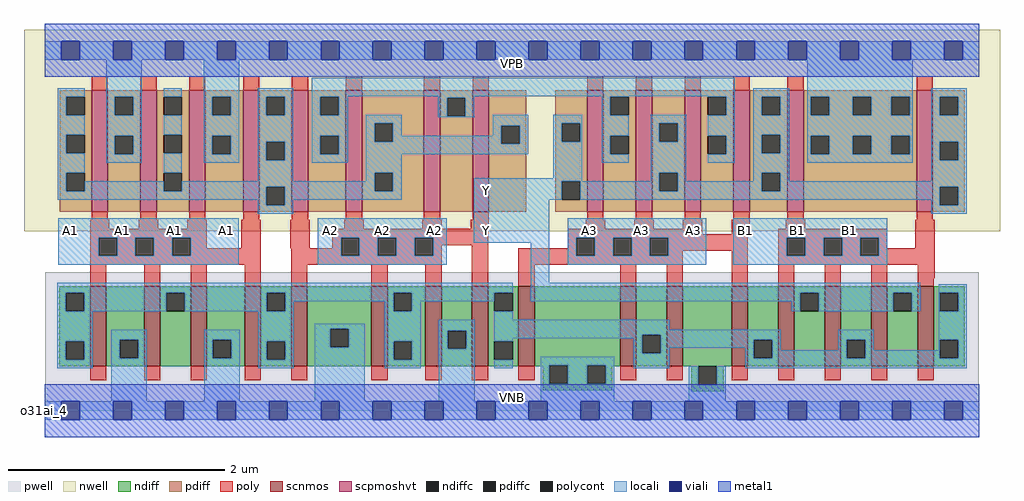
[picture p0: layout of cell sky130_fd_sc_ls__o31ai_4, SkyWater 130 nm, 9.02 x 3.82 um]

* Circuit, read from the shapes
.subckt sky130_fd_sc_ls__o31ai_4 A1 A2 A3 B1 VGND VNB VPB VPWR Y
XM1 VGND A1 n1 VNB sky130_fd_pr__nfet_01v8 w=0.74 l=0.15 m=4
XM2 VGND A2 n1 VNB sky130_fd_pr__nfet_01v8 w=0.74 l=0.15 m=4
XM3 VGND A3 n1 VNB sky130_fd_pr__nfet_01v8 w=0.74 l=0.15 m=4
XM4 Y B1 n1 VNB sky130_fd_pr__nfet_01v8 w=0.74 l=0.15 m=4
XM5 VPWR A1 n2 VPB sky130_fd_pr__pfet_01v8_hvt w=1.12 l=0.15 m=4
XM6 n3 A2 n2 VPB sky130_fd_pr__pfet_01v8_hvt w=1.12 l=0.15 m=4
XM7 n3 A3 Y VPB sky130_fd_pr__pfet_01v8_hvt w=1.12 l=0.15 m=4
XM8 VPWR B1 Y VPB sky130_fd_pr__pfet_01v8_hvt w=1.12 l=0.15 m=2
.ends

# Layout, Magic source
magic
tech sky130A
magscale 1 2
<< nwell >>
rect -38 332 1766 704
<< pwell >>
rect 1 49 1727 256
rect 0 0 1728 49
<< scnmos >>
rect 84 82 114 230
rect 184 82 214 230
rect 270 82 300 230
rect 370 82 400 230
rect 456 82 486 230
rect 604 82 634 230
rect 704 82 734 230
rect 790 82 820 230
rect 876 82 906 230
rect 1064 82 1094 230
rect 1150 82 1180 230
rect 1270 82 1300 230
rect 1356 82 1386 230
rect 1442 82 1472 230
rect 1528 82 1558 230
rect 1614 82 1644 230
<< scpmoshvt >>
rect 87 368 117 592
rect 177 368 207 592
rect 267 368 297 592
rect 367 368 397 592
rect 457 368 487 592
rect 557 368 587 592
rect 701 368 731 592
rect 791 368 821 592
rect 1003 368 1033 592
rect 1093 368 1123 592
rect 1183 368 1213 592
rect 1273 368 1303 592
rect 1373 368 1403 592
rect 1612 368 1642 592
<< ndiff >>
rect 27 218 84 230
rect 27 184 39 218
rect 73 184 84 218
rect 27 128 84 184
rect 27 94 39 128
rect 73 94 84 128
rect 27 82 84 94
rect 114 131 184 230
rect 114 97 139 131
rect 173 97 184 131
rect 114 82 184 97
rect 214 218 270 230
rect 214 184 225 218
rect 259 184 270 218
rect 214 82 270 184
rect 300 131 370 230
rect 300 97 311 131
rect 345 97 370 131
rect 300 82 370 97
rect 400 218 456 230
rect 400 184 411 218
rect 445 184 456 218
rect 400 128 456 184
rect 400 94 411 128
rect 445 94 456 128
rect 400 82 456 94
rect 486 151 604 230
rect 486 117 528 151
rect 562 117 604 151
rect 486 82 604 117
rect 634 218 704 230
rect 634 184 645 218
rect 679 184 704 218
rect 634 128 704 184
rect 634 94 645 128
rect 679 94 704 128
rect 634 82 704 94
rect 734 148 790 230
rect 734 114 745 148
rect 779 114 790 148
rect 734 82 790 114
rect 820 218 876 230
rect 820 184 831 218
rect 865 184 876 218
rect 820 128 876 184
rect 820 94 831 128
rect 865 94 876 128
rect 820 82 876 94
rect 906 84 1064 230
rect 906 82 933 84
rect 921 50 933 82
rect 967 50 1003 84
rect 1037 82 1064 84
rect 1094 140 1150 230
rect 1094 106 1105 140
rect 1139 106 1150 140
rect 1094 82 1150 106
rect 1180 82 1270 230
rect 1300 131 1356 230
rect 1300 97 1311 131
rect 1345 97 1356 131
rect 1300 82 1356 97
rect 1386 218 1442 230
rect 1386 184 1397 218
rect 1431 184 1442 218
rect 1386 82 1442 184
rect 1472 131 1528 230
rect 1472 97 1483 131
rect 1517 97 1528 131
rect 1472 82 1528 97
rect 1558 218 1614 230
rect 1558 184 1569 218
rect 1603 184 1614 218
rect 1558 82 1614 184
rect 1644 218 1701 230
rect 1644 184 1655 218
rect 1689 184 1701 218
rect 1644 131 1701 184
rect 1644 97 1655 131
rect 1689 97 1701 131
rect 1644 82 1701 97
rect 1037 50 1049 82
rect 921 38 1049 50
rect 1195 48 1208 82
rect 1242 48 1255 82
rect 1195 36 1255 48
<< pdiff >>
rect 28 580 87 592
rect 28 546 40 580
rect 74 546 87 580
rect 28 510 87 546
rect 28 476 40 510
rect 74 476 87 510
rect 28 440 87 476
rect 28 406 40 440
rect 74 406 87 440
rect 28 368 87 406
rect 117 580 177 592
rect 117 546 130 580
rect 164 546 177 580
rect 117 508 177 546
rect 117 474 130 508
rect 164 474 177 508
rect 117 368 177 474
rect 207 580 267 592
rect 207 546 220 580
rect 254 546 267 580
rect 207 510 267 546
rect 207 476 220 510
rect 254 476 267 510
rect 207 440 267 476
rect 207 406 220 440
rect 254 406 267 440
rect 207 368 267 406
rect 297 580 367 592
rect 297 546 310 580
rect 344 546 367 580
rect 297 508 367 546
rect 297 474 310 508
rect 344 474 367 508
rect 297 368 367 474
rect 397 580 457 592
rect 397 546 410 580
rect 444 546 457 580
rect 397 497 457 546
rect 397 463 410 497
rect 444 463 457 497
rect 397 414 457 463
rect 397 380 410 414
rect 444 380 457 414
rect 397 368 457 380
rect 487 580 557 592
rect 487 546 510 580
rect 544 546 557 580
rect 487 508 557 546
rect 487 474 510 508
rect 544 474 557 508
rect 487 368 557 474
rect 587 531 701 592
rect 587 497 610 531
rect 644 497 701 531
rect 587 440 701 497
rect 587 406 610 440
rect 644 406 701 440
rect 587 368 701 406
rect 731 578 791 592
rect 731 544 744 578
rect 778 544 791 578
rect 731 368 791 544
rect 821 527 890 592
rect 821 493 844 527
rect 878 493 890 527
rect 821 368 890 493
rect 944 531 1003 592
rect 944 497 956 531
rect 990 497 1003 531
rect 944 424 1003 497
rect 944 390 956 424
rect 990 390 1003 424
rect 944 368 1003 390
rect 1033 580 1093 592
rect 1033 546 1046 580
rect 1080 546 1093 580
rect 1033 508 1093 546
rect 1033 474 1046 508
rect 1080 474 1093 508
rect 1033 368 1093 474
rect 1123 531 1183 592
rect 1123 497 1136 531
rect 1170 497 1183 531
rect 1123 440 1183 497
rect 1123 406 1136 440
rect 1170 406 1183 440
rect 1123 368 1183 406
rect 1213 580 1273 592
rect 1213 546 1226 580
rect 1260 546 1273 580
rect 1213 508 1273 546
rect 1213 474 1226 508
rect 1260 474 1273 508
rect 1213 368 1273 474
rect 1303 580 1373 592
rect 1303 546 1326 580
rect 1360 546 1373 580
rect 1303 510 1373 546
rect 1303 476 1326 510
rect 1360 476 1373 510
rect 1303 440 1373 476
rect 1303 406 1326 440
rect 1360 406 1373 440
rect 1303 368 1373 406
rect 1403 580 1612 592
rect 1403 546 1416 580
rect 1450 546 1494 580
rect 1528 546 1565 580
rect 1599 546 1612 580
rect 1403 508 1612 546
rect 1403 474 1416 508
rect 1450 474 1494 508
rect 1528 474 1565 508
rect 1599 474 1612 508
rect 1403 368 1612 474
rect 1642 580 1701 592
rect 1642 546 1655 580
rect 1689 546 1701 580
rect 1642 497 1701 546
rect 1642 463 1655 497
rect 1689 463 1701 497
rect 1642 414 1701 463
rect 1642 380 1655 414
rect 1689 380 1701 414
rect 1642 368 1701 380
<< ndiffc >>
rect 39 184 73 218
rect 39 94 73 128
rect 139 97 173 131
rect 225 184 259 218
rect 311 97 345 131
rect 411 184 445 218
rect 411 94 445 128
rect 528 117 562 151
rect 645 184 679 218
rect 645 94 679 128
rect 745 114 779 148
rect 831 184 865 218
rect 831 94 865 128
rect 933 50 967 84
rect 1003 50 1037 84
rect 1105 106 1139 140
rect 1311 97 1345 131
rect 1397 184 1431 218
rect 1483 97 1517 131
rect 1569 184 1603 218
rect 1655 184 1689 218
rect 1655 97 1689 131
rect 1208 48 1242 82
<< pdiffc >>
rect 40 546 74 580
rect 40 476 74 510
rect 40 406 74 440
rect 130 546 164 580
rect 130 474 164 508
rect 220 546 254 580
rect 220 476 254 510
rect 220 406 254 440
rect 310 546 344 580
rect 310 474 344 508
rect 410 546 444 580
rect 410 463 444 497
rect 410 380 444 414
rect 510 546 544 580
rect 510 474 544 508
rect 610 497 644 531
rect 610 406 644 440
rect 744 544 778 578
rect 844 493 878 527
rect 956 497 990 531
rect 956 390 990 424
rect 1046 546 1080 580
rect 1046 474 1080 508
rect 1136 497 1170 531
rect 1136 406 1170 440
rect 1226 546 1260 580
rect 1226 474 1260 508
rect 1326 546 1360 580
rect 1326 476 1360 510
rect 1326 406 1360 440
rect 1416 546 1450 580
rect 1494 546 1528 580
rect 1565 546 1599 580
rect 1416 474 1450 508
rect 1494 474 1528 508
rect 1565 474 1599 508
rect 1655 546 1689 580
rect 1655 463 1689 497
rect 1655 380 1689 414
<< poly >>
rect 87 592 117 618
rect 177 592 207 618
rect 267 592 297 618
rect 367 592 397 618
rect 457 592 487 618
rect 557 592 587 618
rect 701 592 731 618
rect 791 592 821 618
rect 1003 592 1033 618
rect 1093 592 1123 618
rect 1183 592 1213 618
rect 1273 592 1303 618
rect 1373 592 1403 618
rect 1612 592 1642 618
rect 87 353 117 368
rect 177 353 207 368
rect 267 353 297 368
rect 367 353 397 368
rect 457 353 487 368
rect 557 353 587 368
rect 701 353 731 368
rect 791 353 821 368
rect 1003 353 1033 368
rect 1093 353 1123 368
rect 1183 353 1213 368
rect 1273 353 1303 368
rect 1373 353 1403 368
rect 1612 353 1642 368
rect 84 336 120 353
rect 174 336 210 353
rect 264 336 300 353
rect 84 320 300 336
rect 84 286 100 320
rect 134 286 168 320
rect 202 286 236 320
rect 270 300 300 320
rect 364 300 400 353
rect 454 300 490 353
rect 554 336 590 353
rect 698 336 734 353
rect 788 336 821 353
rect 1000 336 1036 353
rect 1090 336 1126 353
rect 1180 336 1216 353
rect 532 320 820 336
rect 532 300 548 320
rect 270 286 400 300
rect 84 270 400 286
rect 84 230 114 270
rect 184 230 214 270
rect 270 230 300 270
rect 370 230 400 270
rect 456 286 548 300
rect 582 286 616 320
rect 650 286 684 320
rect 718 306 820 320
rect 718 286 734 306
rect 456 270 734 286
rect 456 230 486 270
rect 604 230 634 270
rect 704 230 734 270
rect 790 230 820 306
rect 967 326 1216 336
rect 1270 326 1303 353
rect 1370 336 1406 353
rect 967 320 1300 326
rect 967 300 983 320
rect 876 286 983 300
rect 1017 286 1051 320
rect 1085 286 1119 320
rect 1153 296 1300 320
rect 1153 286 1180 296
rect 876 270 1180 286
rect 876 230 906 270
rect 1064 230 1094 270
rect 1150 230 1180 270
rect 1270 230 1300 296
rect 1356 320 1558 336
rect 1356 286 1372 320
rect 1406 286 1440 320
rect 1474 286 1508 320
rect 1542 300 1558 320
rect 1609 300 1645 353
rect 1542 286 1645 300
rect 1356 270 1645 286
rect 1356 230 1386 270
rect 1442 230 1472 270
rect 1528 230 1558 270
rect 1614 245 1645 270
rect 1614 230 1644 245
rect 84 56 114 82
rect 184 56 214 82
rect 270 56 300 82
rect 370 56 400 82
rect 456 56 486 82
rect 604 56 634 82
rect 704 56 734 82
rect 790 56 820 82
rect 876 56 906 82
rect 1064 56 1094 82
rect 1150 56 1180 82
rect 1270 56 1300 82
rect 1356 56 1386 82
rect 1442 56 1472 82
rect 1528 56 1558 82
rect 1614 56 1644 82
<< polycont >>
rect 100 286 134 320
rect 168 286 202 320
rect 236 286 270 320
rect 548 286 582 320
rect 616 286 650 320
rect 684 286 718 320
rect 983 286 1017 320
rect 1051 286 1085 320
rect 1119 286 1153 320
rect 1372 286 1406 320
rect 1440 286 1474 320
rect 1508 286 1542 320
<< locali >>
rect 0 649 31 683
rect 65 649 127 683
rect 161 649 223 683
rect 257 649 319 683
rect 353 649 415 683
rect 449 649 511 683
rect 545 649 607 683
rect 641 649 703 683
rect 737 649 799 683
rect 833 649 895 683
rect 929 649 991 683
rect 1025 649 1087 683
rect 1121 649 1183 683
rect 1217 649 1279 683
rect 1313 649 1375 683
rect 1409 649 1471 683
rect 1505 649 1567 683
rect 1601 649 1663 683
rect 1697 649 1728 683
rect 24 580 74 596
rect 24 546 40 580
rect 24 510 74 546
rect 24 476 40 510
rect 24 440 74 476
rect 114 580 180 649
rect 114 546 130 580
rect 164 546 180 580
rect 114 508 180 546
rect 114 474 130 508
rect 164 474 180 508
rect 114 458 180 474
rect 220 580 254 596
rect 220 510 254 546
rect 24 406 40 440
rect 220 440 254 476
rect 294 580 360 649
rect 294 546 310 580
rect 344 546 360 580
rect 294 508 360 546
rect 294 474 310 508
rect 344 474 360 508
rect 294 458 360 474
rect 394 580 460 596
rect 394 546 410 580
rect 444 546 460 580
rect 394 497 460 546
rect 394 463 410 497
rect 444 463 460 497
rect 74 406 220 424
rect 394 424 460 463
rect 494 581 1276 615
rect 494 580 560 581
rect 494 546 510 580
rect 544 546 560 580
rect 728 578 794 581
rect 494 508 560 546
rect 494 474 510 508
rect 544 474 560 508
rect 494 458 560 474
rect 594 531 660 547
rect 728 544 744 578
rect 778 544 794 578
rect 1030 580 1080 581
rect 728 542 794 544
rect 594 497 610 531
rect 644 508 660 531
rect 828 527 894 547
rect 828 508 844 527
rect 644 497 844 508
rect 594 493 844 497
rect 878 493 894 527
rect 594 474 894 493
rect 940 531 994 547
rect 940 497 956 531
rect 990 497 994 531
rect 594 440 660 474
rect 594 424 610 440
rect 254 414 610 424
rect 254 406 410 414
rect 24 390 410 406
rect 394 380 410 390
rect 444 406 610 414
rect 644 406 660 440
rect 940 430 994 497
rect 1030 546 1046 580
rect 1226 580 1276 581
rect 1030 508 1080 546
rect 1030 474 1046 508
rect 1030 458 1080 474
rect 1120 531 1186 547
rect 1120 497 1136 531
rect 1170 497 1186 531
rect 444 390 660 406
rect 793 424 994 430
rect 1120 440 1186 497
rect 1260 546 1276 580
rect 1226 508 1276 546
rect 1260 474 1276 508
rect 1226 458 1276 474
rect 1310 580 1376 596
rect 1310 546 1326 580
rect 1360 546 1376 580
rect 1310 510 1376 546
rect 1310 476 1326 510
rect 1360 476 1376 510
rect 1120 424 1136 440
rect 793 390 956 424
rect 990 406 1136 424
rect 1170 424 1186 440
rect 1310 440 1376 476
rect 1410 580 1605 649
rect 1410 546 1416 580
rect 1450 546 1494 580
rect 1528 546 1565 580
rect 1599 546 1605 580
rect 1410 508 1605 546
rect 1410 474 1416 508
rect 1450 474 1494 508
rect 1528 474 1565 508
rect 1599 474 1605 508
rect 1410 458 1605 474
rect 1639 580 1705 596
rect 1639 546 1655 580
rect 1689 546 1705 580
rect 1639 497 1705 546
rect 1639 463 1655 497
rect 1689 463 1705 497
rect 1310 424 1326 440
rect 1170 406 1326 424
rect 1360 424 1376 440
rect 1639 424 1705 463
rect 1360 414 1705 424
rect 1360 406 1655 414
rect 990 390 1655 406
rect 444 380 460 390
rect 394 364 460 380
rect 25 320 359 356
rect 25 286 100 320
rect 134 286 168 320
rect 202 286 236 320
rect 270 286 359 320
rect 25 270 359 286
rect 505 320 743 356
rect 505 286 548 320
rect 582 286 616 320
rect 650 286 684 320
rect 718 286 743 320
rect 793 310 933 390
rect 1639 380 1655 390
rect 1689 380 1705 414
rect 1639 364 1705 380
rect 505 270 743 286
rect 899 236 933 310
rect 967 320 1223 356
rect 967 286 983 320
rect 1017 286 1051 320
rect 1085 286 1119 320
rect 1153 286 1223 320
rect 967 270 1223 286
rect 1273 320 1558 356
rect 1273 286 1372 320
rect 1406 286 1440 320
rect 1474 286 1508 320
rect 1542 286 1558 320
rect 1273 270 1558 286
rect 23 218 865 236
rect 23 184 39 218
rect 73 184 225 218
rect 259 184 411 218
rect 445 202 645 218
rect 445 184 461 202
rect 23 128 89 184
rect 23 94 39 128
rect 73 94 89 128
rect 23 78 89 94
rect 123 131 189 150
rect 123 97 139 131
rect 173 97 189 131
rect 123 17 189 97
rect 295 131 361 150
rect 295 97 311 131
rect 345 97 361 131
rect 295 17 361 97
rect 395 128 461 184
rect 629 184 645 202
rect 679 202 831 218
rect 679 184 695 202
rect 395 94 411 128
rect 445 94 461 128
rect 395 78 461 94
rect 499 151 592 161
rect 499 117 528 151
rect 562 117 592 151
rect 499 17 592 117
rect 629 128 695 184
rect 899 218 1619 236
rect 899 202 1397 218
rect 1381 184 1397 202
rect 1431 184 1569 218
rect 1603 184 1619 218
rect 1653 218 1705 234
rect 1653 184 1655 218
rect 1689 184 1705 218
rect 831 168 865 184
rect 629 94 645 128
rect 679 94 695 128
rect 629 78 695 94
rect 729 148 795 168
rect 729 114 745 148
rect 779 114 795 148
rect 729 17 795 114
rect 831 150 1155 168
rect 831 140 1361 150
rect 831 134 1105 140
rect 831 128 865 134
rect 1089 106 1105 134
rect 1139 131 1361 140
rect 1139 116 1311 131
rect 1139 106 1155 116
rect 831 78 865 94
rect 917 84 1053 100
rect 917 50 933 84
rect 967 50 1003 84
rect 1037 50 1053 84
rect 1089 78 1155 106
rect 1295 97 1311 116
rect 1345 112 1361 131
rect 1467 131 1533 150
rect 1467 112 1483 131
rect 1345 97 1483 112
rect 1517 112 1533 131
rect 1653 131 1705 184
rect 1653 112 1655 131
rect 1517 97 1655 112
rect 1689 97 1705 131
rect 917 17 1053 50
rect 1191 48 1208 82
rect 1242 48 1259 82
rect 1295 78 1705 97
rect 1191 17 1259 48
rect 0 -17 31 17
rect 65 -17 127 17
rect 161 -17 223 17
rect 257 -17 319 17
rect 353 -17 415 17
rect 449 -17 511 17
rect 545 -17 607 17
rect 641 -17 703 17
rect 737 -17 799 17
rect 833 -17 895 17
rect 929 -17 991 17
rect 1025 -17 1087 17
rect 1121 -17 1183 17
rect 1217 -17 1279 17
rect 1313 -17 1375 17
rect 1409 -17 1471 17
rect 1505 -17 1567 17
rect 1601 -17 1663 17
rect 1697 -17 1728 17
<< viali >>
rect 31 649 65 683
rect 127 649 161 683
rect 223 649 257 683
rect 319 649 353 683
rect 415 649 449 683
rect 511 649 545 683
rect 607 649 641 683
rect 703 649 737 683
rect 799 649 833 683
rect 895 649 929 683
rect 991 649 1025 683
rect 1087 649 1121 683
rect 1183 649 1217 683
rect 1279 649 1313 683
rect 1375 649 1409 683
rect 1471 649 1505 683
rect 1567 649 1601 683
rect 1663 649 1697 683
rect 31 -17 65 17
rect 127 -17 161 17
rect 223 -17 257 17
rect 319 -17 353 17
rect 415 -17 449 17
rect 511 -17 545 17
rect 607 -17 641 17
rect 703 -17 737 17
rect 799 -17 833 17
rect 895 -17 929 17
rect 991 -17 1025 17
rect 1087 -17 1121 17
rect 1183 -17 1217 17
rect 1279 -17 1313 17
rect 1375 -17 1409 17
rect 1471 -17 1505 17
rect 1567 -17 1601 17
rect 1663 -17 1697 17
<< metal1 >>
rect 0 683 1728 715
rect 0 649 31 683
rect 65 649 127 683
rect 161 649 223 683
rect 257 649 319 683
rect 353 649 415 683
rect 449 649 511 683
rect 545 649 607 683
rect 641 649 703 683
rect 737 649 799 683
rect 833 649 895 683
rect 929 649 991 683
rect 1025 649 1087 683
rect 1121 649 1183 683
rect 1217 649 1279 683
rect 1313 649 1375 683
rect 1409 649 1471 683
rect 1505 649 1567 683
rect 1601 649 1663 683
rect 1697 649 1728 683
rect 0 617 1728 649
rect 0 17 1728 49
rect 0 -17 31 17
rect 65 -17 127 17
rect 161 -17 223 17
rect 257 -17 319 17
rect 353 -17 415 17
rect 449 -17 511 17
rect 545 -17 607 17
rect 641 -17 703 17
rect 737 -17 799 17
rect 833 -17 895 17
rect 929 -17 991 17
rect 1025 -17 1087 17
rect 1121 -17 1183 17
rect 1217 -17 1279 17
rect 1313 -17 1375 17
rect 1409 -17 1471 17
rect 1505 -17 1567 17
rect 1601 -17 1663 17
rect 1697 -17 1728 17
rect 0 -49 1728 -17
<< labels >>
rlabel comment s 0 0 0 0 4 o31ai_4
flabel pwell s 0 0 1728 49 0 FreeSans 200 0 0 0 VNB
port 6 nsew ground bidirectional
flabel nwell s 0 617 1728 666 0 FreeSans 200 0 0 0 VPB
port 7 nsew power bidirectional
flabel metal1 s 0 617 1728 666 0 FreeSans 340 0 0 0 VPWR
port 8 nsew power bidirectional abutment
flabel metal1 s 0 0 1728 49 0 FreeSans 340 0 0 0 VGND
port 5 nsew ground bidirectional abutment
flabel locali s 799 316 833 350 0 FreeSans 340 0 0 0 Y
port 9 nsew signal output
flabel locali s 799 390 833 424 0 FreeSans 340 0 0 0 Y
port 9 nsew signal output
flabel locali s 1279 316 1313 350 0 FreeSans 340 0 0 0 B1
port 4 nsew signal input
flabel locali s 1375 316 1409 350 0 FreeSans 340 0 0 0 B1
port 4 nsew signal input
flabel locali s 1471 316 1505 350 0 FreeSans 340 0 0 0 B1
port 4 nsew signal input
flabel locali s 991 316 1025 350 0 FreeSans 340 0 0 0 A3
port 3 nsew signal input
flabel locali s 1087 316 1121 350 0 FreeSans 340 0 0 0 A3
port 3 nsew signal input
flabel locali s 1183 316 1217 350 0 FreeSans 340 0 0 0 A3
port 3 nsew signal input
flabel locali s 511 316 545 350 0 FreeSans 340 0 0 0 A2
port 2 nsew signal input
flabel locali s 607 316 641 350 0 FreeSans 340 0 0 0 A2
port 2 nsew signal input
flabel locali s 703 316 737 350 0 FreeSans 340 0 0 0 A2
port 2 nsew signal input
flabel locali s 31 316 65 350 0 FreeSans 340 0 0 0 A1
port 1 nsew signal input
flabel locali s 127 316 161 350 0 FreeSans 340 0 0 0 A1
port 1 nsew signal input
flabel locali s 223 316 257 350 0 FreeSans 340 0 0 0 A1
port 1 nsew signal input
flabel locali s 319 316 353 350 0 FreeSans 340 0 0 0 A1
port 1 nsew signal input
<< properties >>
string LEFsite unit
string LEFclass CORE
string FIXED_BBOX 0 0 1728 666
string GDS_FILE $PDKPATH/libs.ref/sky130_fd_sc_ls/gds/sky130_fd_sc_ls.gds
string LEFsymmetry X Y
string GDS_END 363824
string GDS_START 350176
<< end >>
